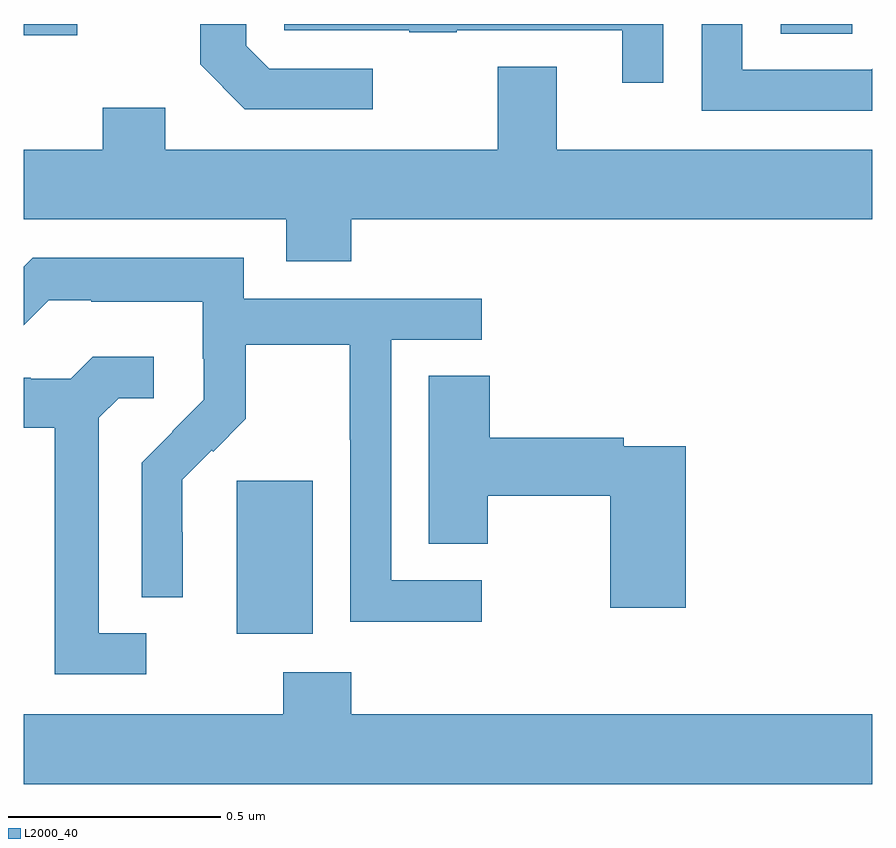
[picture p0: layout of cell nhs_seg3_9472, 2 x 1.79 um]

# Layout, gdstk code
import gdstk
lib = gdstk.Library(unit=1e-6, precision=1e-09)
def R(c, l, rs):  # rectangles x0, y0, x1, y1
    for r in rs: c.add(gdstk.rectangle(r[:2], r[2:], *l))
def P(c, l, *ps):  # polygons
    for p in ps: c.add(gdstk.Polygon(p, *l))
L2000_40 = (2000, 40)

nhs_seg3_9472 = lib.new_cell('nhs_seg3_9472')
R(nhs_seg3_9472, L2000_40, [(229.502,675.962,229.681,676.323), (229,677.373,229.126,677.4), (230.784,677.377,230.953,677.4)])
P(nhs_seg3_9472, L2000_40, [(230.507,677.4),(229.614,677.4),(229.614,677.385),(229.909,677.385),(229.909,677.38),(230.021,677.38),(230.021,677.385),(230.411,677.385),(230.411,677.262),(230.507,677.262)],
  [(229.822,677.295),(229.578,677.295),(229.524,677.349),(229.524,677.4),(229.416,677.4),(229.416,677.305),(229.521,677.199),(229.822,677.199)],
  [(231,677.295),(230.997,677.292),(230.694,677.292),(230.694,677.4),(230.598,677.4),(230.598,677.196),(231,677.196)],
  [(229.772,676.94),(231,676.94),(231,677.104),(230.257,677.104),(230.257,677.299),(230.117,677.299),(230.117,677.104),(229.333,677.104),(229.333,677.203),(229.186,677.203),(229.186,677.104),(229,677.104),(229,676.94),(229.619,676.94),(229.619,676.841),(229.772,676.841)],
  [(230.08,676.089),(229.866,676.089),(229.866,676.656),(230.08,676.656),(230.08,676.752),(229.518,676.752),(229.518,676.849),(229.021,676.849),(229,676.828),(229,676.69),(229.059,676.749),(229.159,676.749),(229.159,676.745),(229.422,676.745),(229.422,676.611),(229.424,676.611),(229.424,676.514),(229.35,676.44),(229.351,676.439),(229.278,676.366),(229.278,676.048),(229.374,676.048),(229.374,676.202),(229.373,676.202),(229.373,676.325),(229.443,676.395),(229.446,676.392),(229.523,676.469),(229.523,676.644),(229.768,676.644),(229.768,676.42),(229.77,676.42),(229.77,675.991),(230.08,675.991)],
  [(229.288,675.963),(229.177,675.963),(229.177,676.471),(229.224,676.518),(229.306,676.518),(229.306,676.615),(229.162,676.615),(229.11,676.563),(229.016,676.563),(229.016,676.566),(229,676.566),(229,676.448),(229.073,676.448),(229.073,675.867),(229.288,675.867)],
  [(230.561,676.404),(230.414,676.404),(230.414,676.424),(230.099,676.424),(230.099,676.571),(229.955,676.571),(229.955,676.174),(230.094,676.174),(230.094,676.288),(230.383,676.288),(230.383,676.023),(230.561,676.023)],
  [(231,675.772),(229.772,675.772),(229.772,675.871),(229.612,675.871),(229.612,675.772),(229,675.772),(229,675.608),(231,675.608)])

lib.write_gds('nhs_seg3_9472.gds')
